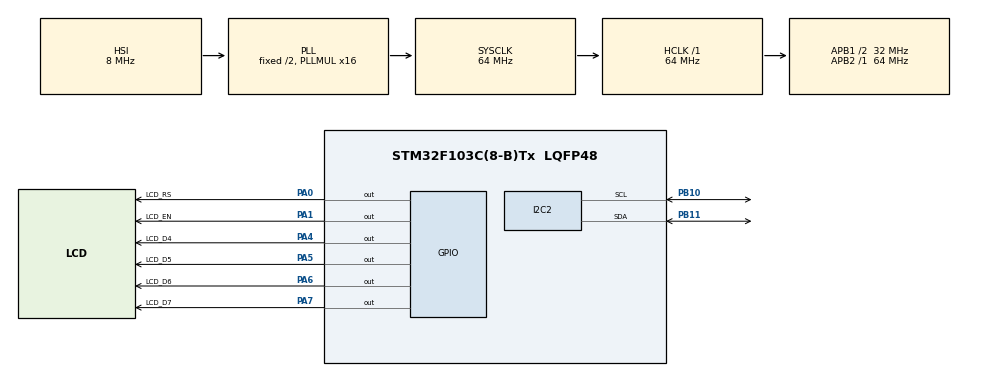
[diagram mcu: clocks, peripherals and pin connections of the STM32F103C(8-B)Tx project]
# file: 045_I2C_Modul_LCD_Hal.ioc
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I2C2.I2C_Mode=I2C_Fast
Mcu.Family=STM32F1
Mcu.Name=STM32F103C(8-B)Tx
Mcu.Package=LQFP48
NVIC.PriorityGroup=NVIC_PRIORITYGROUP_4
PA0-WKUP.GPIO_Label=LCD_RS
PA0-WKUP.Signal=GPIO_Output
PA1.GPIO_Label=LCD_EN
PA1.Signal=GPIO_Output
PA13.Mode=Serial_Wire
PA13.Signal=SYS_JTMS-SWDIO
PA14.Mode=Serial_Wire
PA14.Signal=SYS_JTCK-SWCLK
PA4.GPIO_Label=LCD_D4
PA4.Signal=GPIO_Output
PA5.GPIO_Label=LCD_D5
PA5.Signal=GPIO_Output
PA6.GPIO_Label=LCD_D6
PA6.Signal=GPIO_Output
PA7.GPIO_Label=LCD_D7
PA7.Signal=GPIO_Output
PB10.Mode=I2C
PB10.Signal=I2C2_SCL
PB11.Mode=I2C
PB11.Signal=I2C2_SDA
ProjectManager.HeapSize=0x200
ProjectManager.StackSize=0x400
ProjectManager.TargetToolchain=STM32CubeIDE
RCC.AHBFreq_Value=64000000
RCC.APB1CLKDivider=RCC_HCLK_DIV2
RCC.APB1Freq_Value=32000000
RCC.APB1TimFreq_Value=64000000
RCC.APB2Freq_Value=64000000
RCC.APB2TimFreq_Value=64000000
RCC.HCLKFreq_Value=64000000
RCC.PLLMUL=RCC_PLL_MUL16
RCC.SYSCLKFreq_VALUE=64000000
RCC.SYSCLKSource=RCC_SYSCLKSOURCE_PLLCLK
RCC.USBFreq_Value=64000000
board=custom

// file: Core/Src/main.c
/* USER CODE BEGIN Header */
/**
  ******************************************************************************
  * @file           : main.c
  * @brief          : Main program body
  ******************************************************************************
  * @attention
  *
  * Copyright (c) 2024 STMicroelectronics.
  * All rights reserved.
  *
  * This software is licensed under terms that can be found in the LICENSE file
  * in the root directory of this software component.
  * If no LICENSE file comes with this software, it is provided AS-IS.
  *
  ******************************************************************************
  */
/* USER CODE END Header */
#include "main.h"

/* USER CODE BEGIN Includes */
#include "LCD.h"
#include "i2c-lcd.h"

/* USER CODE END Includes */

/* USER CODE BEGIN PD */
#define M_ADDRESS 0x4E

/* USER CODE END PD */

I2C_HandleTypeDef hi2c2;

/* USER CODE BEGIN PV */
uint16_t adr=0;
uint8_t data[8];

/* USER CODE END PV */

void SystemClock_Config(void);
static void MX_GPIO_Init(void);
static void MX_I2C2_Init(void);
/* USER CODE BEGIN PFP */
void Scan_Slave_Device(void);
/* USER CODE END PFP */

int main(void)
{

  /* MCU Configuration--------------------------------------------------------*/

  /* Reset of all peripherals, Initializes the Flash interface and the Systick. */
  HAL_Init();

  /* Configure the system clock */
  SystemClock_Config();

  /* Initialize all configured peripherals */
  MX_GPIO_Init();
  MX_I2C2_Init();
  /* USER CODE BEGIN 2 */

	Scan_Slave_Device();
  /* USER CODE END 2 */

  /* Infinite loop */
  while (1)
  {

    /* USER CODE BEGIN 3 */

	  uint8_t data[1];
	  data[0] = 0x0C;
	  HAL_I2C_Master_Transmit(&hi2c2, M_ADDRESS, data, 1, 100);

	  lcd_send_cmd(0x80);
	  lcd_send_string("MERVE");
	  HAL_Delay(500);
	  lcd_send_cmd(0xC0);
	  lcd_send_string("VAROL");
	  HAL_Delay(2000);
	  lcd_send_cmd(0x01);
	  HAL_Delay(100);

//		data[0] = 0x02;
//
//
//		HAL_I2C_Master_Transmit(&hi2c2, M_ADDRESS, data, 1, 100);
//		HAL_Delay(500);
  }
  /* USER CODE END 3 */
}

void SystemClock_Config(void)
{
  RCC_OscInitTypeDef RCC_OscInitStruct = {0};
  RCC_ClkInitTypeDef RCC_ClkInitStruct = {0};

  /** Initializes the RCC Oscillators according to the specified parameters
  * in the RCC_OscInitTypeDef structure.
  */
  RCC_OscInitStruct.OscillatorType = RCC_OSCILLATORTYPE_HSI;
  RCC_OscInitStruct.HSIState = RCC_HSI_ON;
  RCC_OscInitStruct.HSICalibrationValue = RCC_HSICALIBRATION_DEFAULT;
  RCC_OscInitStruct.PLL.PLLState = RCC_PLL_ON;
  RCC_OscInitStruct.PLL.PLLSource = RCC_PLLSOURCE_HSI_DIV2;
  RCC_OscInitStruct.PLL.PLLMUL = RCC_PLL_MUL16;
  if (HAL_RCC_OscConfig(&RCC_OscInitStruct) != HAL_OK)
  {
    Error_Handler();
  }

  /** Initializes the CPU, AHB and APB buses clocks
  */
  RCC_ClkInitStruct.ClockType = RCC_CLOCKTYPE_HCLK|RCC_CLOCKTYPE_SYSCLK
                              |RCC_CLOCKTYPE_PCLK1|RCC_CLOCKTYPE_PCLK2;
  RCC_ClkInitStruct.SYSCLKSource = RCC_SYSCLKSOURCE_PLLCLK;
  RCC_ClkInitStruct.AHBCLKDivider = RCC_SYSCLK_DIV1;
  RCC_ClkInitStruct.APB1CLKDivider = RCC_HCLK_DIV2;
  RCC_ClkInitStruct.APB2CLKDivider = RCC_HCLK_DIV1;

  if (HAL_RCC_ClockConfig(&RCC_ClkInitStruct, FLASH_LATENCY_2) != HAL_OK)
  {
    Error_Handler();
  }
}

static void MX_I2C2_Init(void)
{

  hi2c2.Instance = I2C2;
  hi2c2.Init.ClockSpeed = 400000;
  hi2c2.Init.DutyCycle = I2C_DUTYCYCLE_2;
  hi2c2.Init.OwnAddress1 = 0;
  hi2c2.Init.AddressingMode = I2C_ADDRESSINGMODE_7BIT;
  hi2c2.Init.DualAddressMode = I2C_DUALADDRESS_DISABLE;
  hi2c2.Init.OwnAddress2 = 0;
  hi2c2.Init.GeneralCallMode = I2C_GENERALCALL_DISABLE;
  hi2c2.Init.NoStretchMode = I2C_NOSTRETCH_DISABLE;
  if (HAL_I2C_Init(&hi2c2) != HAL_OK)
  {
    Error_Handler();
  }

}

static void MX_GPIO_Init(void)
{
  GPIO_InitTypeDef GPIO_InitStruct = {0};

  /* GPIO Ports Clock Enable */
  __HAL_RCC_GPIOA_CLK_ENABLE();
  __HAL_RCC_GPIOB_CLK_ENABLE();

  /*Configure GPIO pin Output Level */
  HAL_GPIO_WritePin(GPIOA, LCD_RS_Pin|LCD_EN_Pin|LCD_D4_Pin|LCD_D5_Pin
                          |LCD_D6_Pin|LCD_D7_Pin, GPIO_PIN_RESET);

  /*Configure GPIO pins : LCD_RS_Pin LCD_EN_Pin LCD_D4_Pin LCD_D5_Pin
                           LCD_D6_Pin LCD_D7_Pin */
  GPIO_InitStruct.Pin = LCD_RS_Pin|LCD_EN_Pin|LCD_D4_Pin|LCD_D5_Pin
                          |LCD_D6_Pin|LCD_D7_Pin;
  GPIO_InitStruct.Mode = GPIO_MODE_OUTPUT_PP;
  GPIO_InitStruct.Pull = GPIO_NOPULL;
  GPIO_InitStruct.Speed = GPIO_SPEED_FREQ_LOW;
  HAL_GPIO_Init(GPIOA, &GPIO_InitStruct);

}

/* USER CODE BEGIN 4 */

void Scan_Slave_Device(void){

	for(adr=0;adr <= 256; adr++){

		if(HAL_I2C_IsDeviceReady(&hi2c2, adr, 1, 100) == HAL_OK)
			break;
	}
}
/* USER CODE END 4 */

void Error_Handler(void)
{
  __disable_irq();
  while (1)
  {
  }
}
